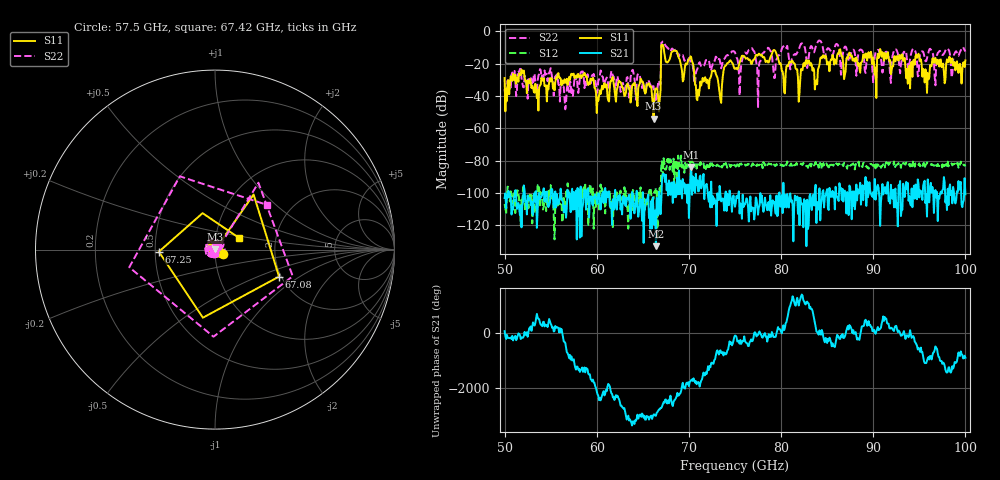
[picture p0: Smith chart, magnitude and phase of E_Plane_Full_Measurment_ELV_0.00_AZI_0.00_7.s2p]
! 11/26/2026 2:56:32 PM
! C:\ANRITSUVNA\TEMP\TEMP.S2P
! CHANNEL.1
! TR.MEASUREMENT
! RAW.DATA
# HZ S RI R 50.0
! FREQ.HZ  S11RE  S11IM  S21RE  S21IM  S12RE  S12IM  S22RE  S22IM
!; PortSelection: Port_12
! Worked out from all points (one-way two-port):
!   601 points, 50 GHz to 100 GHz, reference 50 ohm
!   highest |S21| = -83.90 dB at 70.25 GHz (marker M1); lowest = -133.0 dB at 66.42 GHz (marker M2)
!   lowest |S11| = -54.0 dB at 66.17 GHz (marker M3), VSWR 1.00, Z = 50.1 + j0.143 ohm
!   |S11| at or under -10 dB: start of sweep to 67 GHz; 67.25 GHz to end of sweep
!   |S22| runs from -48.2 to -5.6 dB; largest |S21 - S12| = 0.00015
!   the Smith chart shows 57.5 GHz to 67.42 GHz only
!   S11 on the Smith chart (normalised r, x): 57.5 GHz: 1.09, -0.05; 67.08 GHz: 1.95, -0.69; 67.25 GHz: 0.52, -0.01; 67.42 GHz: 1.29, +0.18
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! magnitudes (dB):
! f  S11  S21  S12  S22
! 50 GHz  -28.9  -103.2  -106.9  -35.6
! 57.5 GHz  -26.1  -99.4  -102.3  -34.7
! 58.42 GHz  -27.1  -109.4  -97.9  -24.8
! 60.17 GHz  -43.0  -100.2  -102.0  -30.4
! 66.17 GHz  -54.0  -112.1  -103.7  -34.1
! 66.42 GHz  -35.3  -133.0  -96.9  -43.7
! 66.67 GHz  -41.6  -113.7  -99.7  -31.6
! 67.08 GHz  -8.2  -91.6  -80.4  -6.8
! 67.25 GHz  -10.1  -88.3  -78.5  -6.2
! 67.42 GHz  -16.6  -93.3  -85.6  -8.3
! 70.25 GHz  -15.9  -83.9  -82.9  -18.7
! 70.92 GHz  -42.6  -92.3  -82.5  -23.2
! 75 GHz  -23.3  -108.6  -83.0  -13.0
! 77.58 GHz  -13.8  -108.9  -83.0  -21.7
! 78.5 GHz  -18.2  -110.7  -82.8  -10.8
! 79.33 GHz  -11.8  -109.6  -83.3  -28.7
! 80.25 GHz  -27.8  -93.7  -83.2  -9.4
! 83.42 GHz  -24.3  -102.7  -81.8  -10.8
! 91.67 GHz  -16.7  -105.1  -82.7  -15.2
! 94.83 GHz  -15.1  -91.7  -81.4  -27.8
! 95.83 GHz  -38.1  -114.7  -81.0  -16.5
! 100 GHz  -18.0  -100.9  -83.7  -12.5
